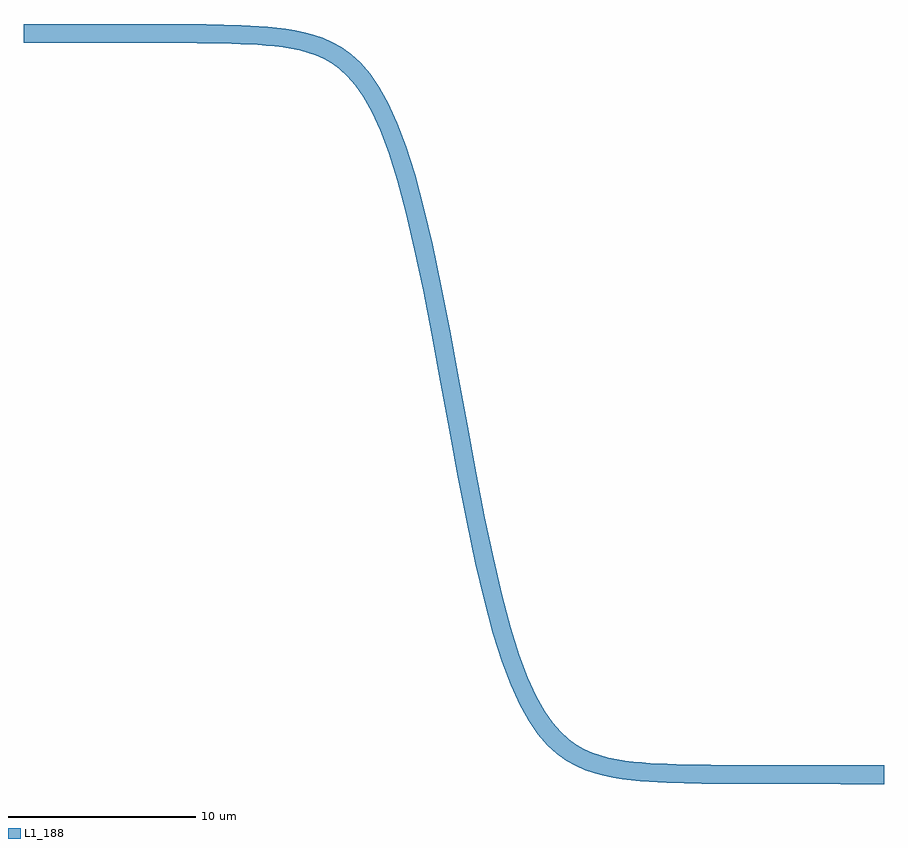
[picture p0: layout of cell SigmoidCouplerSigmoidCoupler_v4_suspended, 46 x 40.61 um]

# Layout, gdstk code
import gdstk
lib = gdstk.Library(unit=1e-6, precision=1e-09)
L1_188 = (1, 188)

sigmoidcouplersigmoidcou = lib.new_cell('SigmoidCouplerSigmoidCoupler_v4_suspended')
sigmoidcouplersigmoidcou.add(gdstk.FlexPath([(-23,39.607),(-22.535,39.607),(-22.071,39.607),(-21.606,39.607),(-21.141,39.607),(-20.677,39.607),(-20.212,39.606),(-19.747,39.606),(-19.283,39.606),(-18.818,39.606),(-18.354,39.606),(-17.889,39.605),(-17.424,39.605),(-16.96,39.604),(-16.495,39.603),(-16.03,39.602),(-15.566,39.6),(-15.101,39.598),(-14.636,39.595),(-14.172,39.592),(-13.707,39.588),(-13.242,39.582),(-12.778,39.574),(-12.313,39.565),(-11.848,39.553),(-11.384,39.537),(-10.919,39.516),(-10.455,39.489),(-9.99,39.454),(-9.525,39.41),(-9.061,39.352),(-8.596,39.277),(-8.131,39.181),(-7.667,39.057),(-7.202,38.898),(-6.737,38.693),(-6.273,38.432),(-5.808,38.099),(-5.343,37.676),(-4.879,37.142),(-4.414,36.473),(-3.949,35.642),(-3.485,34.62),(-3.02,33.381),(-2.556,31.903),(-2.091,30.172),(-1.626,28.193),(-1.162,25.985),(-0.697,23.593),(-0.232,21.081),(0.232,18.526),(0.697,16.014),(1.162,13.622),(1.626,11.414),(2.091,9.435),(2.556,7.704),(3.02,6.226),(3.485,4.987),(3.949,3.965),(4.414,3.134),(4.879,2.465),(5.343,1.931),(5.808,1.508),(6.273,1.175),(6.737,0.914),(7.202,0.709),(7.667,0.55),(8.131,0.426),(8.596,0.33),(9.061,0.255),(9.525,0.197),(9.99,0.153),(10.455,0.118),(10.919,0.091),(11.384,0.07),(11.848,0.054),(12.313,0.042),(12.778,0.033),(13.242,0.025),(13.707,0.019),(14.172,0.015),(14.636,0.012),(15.101,0.009),(15.566,0.007),(16.03,0.005),(16.495,0.004),(16.96,0.003),(17.424,0.002),(17.889,0.002),(18.354,0.001),(18.818,0.001),(19.283,0.001),(19.747,0.001),(20.212,0.001),(20.677,0),(21.141,0),(21.606,0),(22.071,0),(22.535,0),(23,0)], 1, ends="flush", simple_path=True, layer=1, datatype=188))  # L1_188

lib.write_gds('SigmoidCouplerSigmoidCoupler_v4_suspended.gds')
